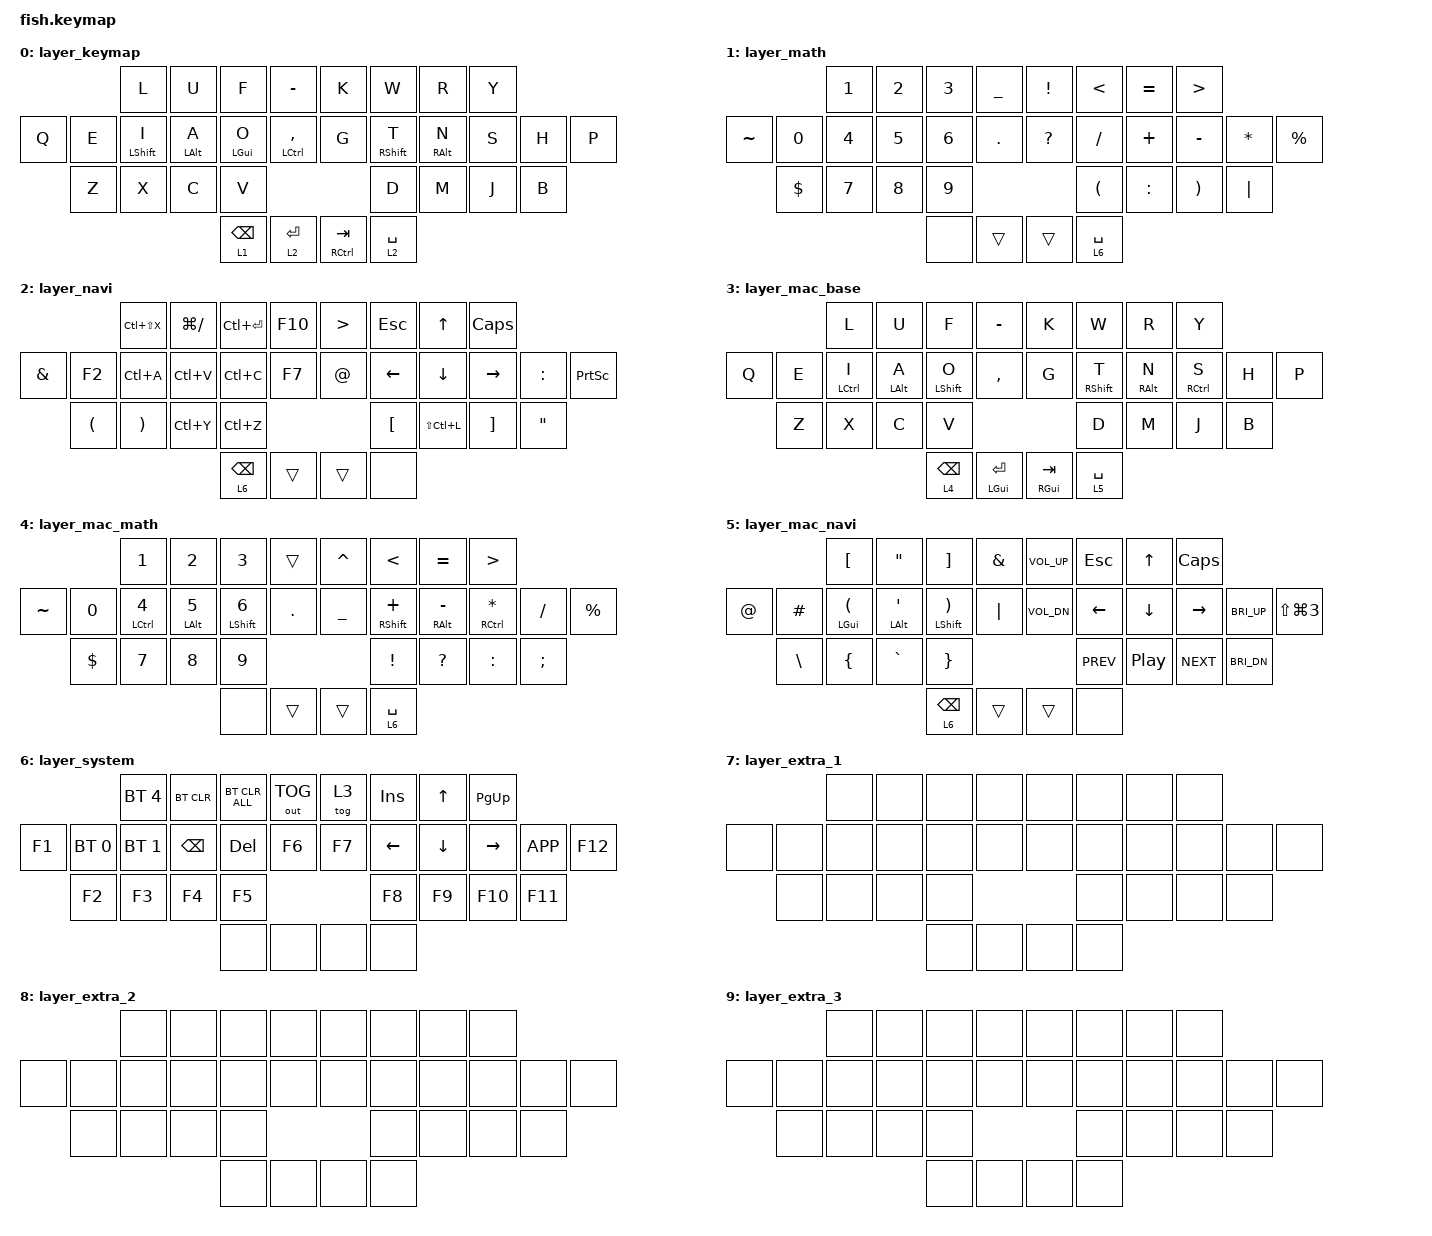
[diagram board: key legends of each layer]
// キーマップを更新する方法は https://o24.works/fish/guide を参照
// 視覚的に編集するには https://o24.works/fish/editor を参照


// 定義を呼んでくる
#include <behaviors.dtsi>
#include <dt-bindings/zmk/keys.h>
#include <dt-bindings/zmk/mouse.h>
#include <dt-bindings/zmk/bt.h>
#include <dt-bindings/zmk/outputs.h>
#include <dt-bindings/zmk/pointing.h>


// 特殊入力の挙動を調整できる

&mt {
    flavor = "tap-preferred";
    tapping-term-ms = <225>;
    quick-tap-ms = <200>;
    require-prior-idle-ms = <150>;
};

&lt {
    flavor = "balanced";
    tapping-term-ms = <175>;
    quick-tap-ms = <200>;
};

&sk {
};

&sl {
};

&caps_word {
};

&key_repeat {
};


/ {
    // 独自の入力を定義できる（上級者向け）

    behaviors {
    };

    macros {
    };

    conditional_layers {
    };


    // 複数キーの同時押しに特別の入力を設定できる
    // キー番号早見表：
    //       0  1  2  3     4  5  6  7
    // 8  9 10 11 12 13    14 15 16 17 18 19
    //   20 21 22 23          24 25 26 27
    //            28 29    30 31

    combos {
        compatible = "zmk,combos";
        timeout-ms = <100>;
        require-prior-idle-ms = <150>;

        combo_lang2 {
            key-positions = <11 12>;
            bindings = <&kp LANG2>;
        };

        combo_lang1 {
            key-positions = <15 16>;
            bindings = <&kp LANG1>;
        };

        combo_reset_L {
            key-positions = <3 8 13>;
            bindings = <&bootloader>;
        };

        combo_ls_space {
            key-positions = <24 25>;
            bindings = <&kp LS(SPACE)>;
        };

        combo_reset_R {
            key-positions = <4 14 19>;
            bindings = <&bootloader>;
        };

        combo_studio_unlock {
            key-positions = <20 21 22 23>;
            bindings = <&studio_unlock>;
        };

        combo_lc_z {
            key-positions = <22 23>;
            bindings = <&kp LC(Z)>;
        };
    };
    

    // キーに入力を割り当てる
    // 型（&...）は https://zmk.dev/docs/behaviors/... を参照
    // キーコードは https://zmk.dev/docs/codes/... を参照

    keymap {
        compatible = "zmk,keymap";

        layer_keymap {
            bindings = <
                        &kp L       &kp U       &kp F       &kp MINUS           &kp K       &kp W       &kp R       &kp Y       
&kp Q       &kp E       &mt LSHFT I &mt LALT A  &mt LGUI O  &mt LCTRL COMMA     &kp G       &mt RSHFT T &mt RALT N  &kp S       &kp H       &kp P       
            &kp Z       &kp X       &kp C       &kp V                                       &kp D       &kp M       &kp J       &kp B       
                                                &lt 1 BSPC  &lt 2 RET           &mt RCTRL TAB &lt 2 SPACE 
            >;
        };

        layer_math {
            bindings = <
                        &kp N1      &kp N2      &kp N3      &kp UNDER           &kp EXCL    &kp LT      &kp EQUAL   &kp GT      
&kp TILDE   &kp N0      &kp N4      &kp N5      &kp N6      &kp DOT             &kp QMARK   &kp FSLH    &kp PLUS    &kp MINUS   &kp STAR    &kp PRCNT   
            &kp DLLR    &kp N7      &kp N8      &kp N9                                      &kp LPAR    &kp COLON   &kp RPAR    &kp PIPE    
                                                &none       &trans              &trans      &lt 6 SPACE 
            >;
        };

        layer_navi {
            bindings = <
                        &kp LC(LS(X)) &kp LG(FSLH) &kp LC(RET) &kp F10          &kp GT      &kp ESC     &kp UP      &kp CAPS    
&kp AMPS    &kp F2      &kp LC(A)   &kp LC(V)   &kp LC(C)   &kp F7              &kp AT      &kp LEFT    &kp DOWN    &kp RIGHT   &kp COLON   &kp PSCRN   
            &kp LPAR    &kp RPAR    &kp LC(Y)   &kp LC(Z)                                   &kp LBKT    &kp LS(LC(L)) &kp RBKT  &kp DQT     
                                                &lt 6 BSPC  &trans              &trans      &none       
            >;
        };

        layer_mac_base {
            bindings = <
                        &kp L       &kp U       &kp F       &kp MINUS           &kp K       &kp W       &kp R       &kp Y       
&kp Q       &kp E       &mt LCTRL I &mt LALT A  &mt LSHFT O &kp COMMA           &kp G       &mt RSHFT T &mt RALT N  &mt RCTRL S &kp H       &kp P       
            &kp Z       &kp X       &kp C       &kp V                                       &kp D       &kp M       &kp J       &kp B       
                                                &lt 4 BSPC  &mt LGUI RET        &mt RGUI TAB &lt 5 SPACE 
            >;
        };

        layer_mac_math {
            bindings = <
                        &kp N1      &kp N2      &kp N3      &trans              &kp CARET   &kp LT      &kp EQUAL   &kp GT      
&kp TILDE   &kp N0      &mt LCTRL N4 &mt LALT N5 &mt LSHFT N6 &kp DOT           &kp UNDER   &mt RSHFT PLUS &mt RALT MINUS &mt RCTRL STAR &kp FSLH &kp PRCNT 
            &kp DLLR    &kp N7      &kp N8      &kp N9                                      &kp EXCL    &kp QMARK   &kp COLON   &kp SEMI    
                                                &none       &trans              &trans      &lt 6 SPACE 
            >;
        };

        layer_mac_navi {
            bindings = <
                        &kp LBKT    &kp DQT     &kp RBKT    &kp AMPS            &kp C_VOL_UP &kp ESC    &kp UP      &kp CAPS    
&kp AT      &kp HASH    &mt LGUI LPAR &mt LALT SQT &mt LSHFT RPAR &kp PIPE      &kp C_VOL_DN &kp LEFT   &kp DOWN    &kp RIGHT   &kp C_BRI_UP &kp LS(LG(N3)) 
            &kp BSLH    &kp LBRC    &kp GRAVE   &kp RBRC                                    &kp C_PREV  &kp C_PP    &kp C_NEXT  &kp C_BRI_DN 
                                                &lt 6 BSPC  &trans              &trans      &none       
            >;
        };

        layer_system {
            bindings = <
                        &bt BT_SEL 4 &bt BT_CLR &bt BT_CLR_ALL &out OUT_TOG     &tog 3      &kp INS     &kp UP      &kp PG_UP   
&kp F1      &bt BT_SEL 0 &bt BT_SEL 1 &kp BSPC  &kp DEL     &kp F6              &kp F7      &kp LEFT    &kp DOWN    &kp RIGHT   &kp K_APP   &kp F12     
            &kp F2      &kp F3      &kp F4      &kp F5                                      &kp F8      &kp F9      &kp F10     &kp F11     
                                                &none       &none               &none       &none       
            >;
        };

        layer_extra_1 {
            bindings = <
                        &none       &none       &none       &none               &none       &none       &none       &none       
&none       &none       &none       &none       &none       &none               &none       &none       &none       &none       &none       &none       
            &none       &none       &none       &none                                       &none       &none       &none       &none       
                                                &none       &none               &none       &none       
            >;
        };

        layer_extra_2 {
            bindings = <
                        &none       &none       &none       &none               &none       &none       &none       &none       
&none       &none       &none       &none       &none       &none               &none       &none       &none       &none       &none       &none       
            &none       &none       &none       &none                                       &none       &none       &none       &none       
                                                &none       &none               &none       &none       
            >;
        };

        layer_extra_3 {
            bindings = <
                        &none       &none       &none       &none               &none       &none       &none       &none       
&none       &none       &none       &none       &none       &none               &none       &none       &none       &none       &none       &none       
            &none       &none       &none       &none                                       &none       &none       &none       &none       
                                                &none       &none               &none       &none       
            >;
        };
    };
};
